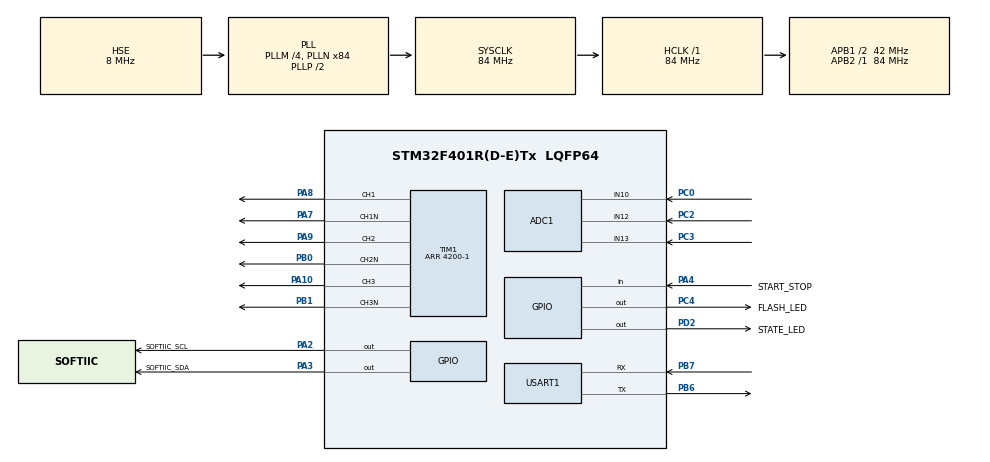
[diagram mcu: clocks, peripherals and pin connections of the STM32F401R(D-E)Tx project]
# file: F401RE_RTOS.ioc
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ADC1.Channel-0\#ChannelRegularConversion=ADC_CHANNEL_10
ADC1.Channel-1\#ChannelRegularConversion=ADC_CHANNEL_12
ADC1.Channel-2\#ChannelRegularConversion=ADC_CHANNEL_13
ADC1.DataAlign=ADC_DATAALIGN_RIGHT
ADC1.ExternalTrigConv=ADC_EXTERNALTRIGCONV_T1_CC3
ADC1.NbrOfConversion=3
ADC1.NbrOfConversionFlag=1
ADC1.Rank-0\#ChannelRegularConversion=1
ADC1.Rank-1\#ChannelRegularConversion=2
ADC1.Rank-2\#ChannelRegularConversion=3
ADC1.SamplingTime-0\#ChannelRegularConversion=ADC_SAMPLETIME_56CYCLES
ADC1.SamplingTime-1\#ChannelRegularConversion=ADC_SAMPLETIME_56CYCLES
ADC1.SamplingTime-2\#ChannelRegularConversion=ADC_SAMPLETIME_56CYCLES
ADC1.master=1
FREERTOS.Tasks01=defaultTask,-2,128,StartDefaultTask,Default,NULL,Static,defaultTaskBuffer,defaultTaskControlBlock;heartTask,0,128,HeartTaskEntry,Default,NULL,Static,heartTaskBuffer,heartTaskControlBlock;focTask,2,512,focTaskEntry,Default,NULL,Static,focTaskBuffer,focTaskControlBlock;buttonTask,0,128,buttonTaskEntry,Default,NULL,Static,buttonTaskBuffer,buttonTaskControlBlock
Mcu.Family=STM32F4
Mcu.Name=STM32F401R(D-E)Tx
Mcu.Package=LQFP64
NVIC.PriorityGroup=NVIC_PRIORITYGROUP_4
NVIC.TIM1_UP_TIM10_IRQn=true\:5\:0\:false\:false\:true\:false\:false\:true\:true
NVIC.TimeBase=TIM1_UP_TIM10_IRQn
NVIC.TimeBaseIP=TIM10
PA10.Signal=S_TIM1_CH3
PA13.Mode=Serial_Wire
PA13.Signal=SYS_JTMS-SWDIO
PA14.Mode=Serial_Wire
PA14.Signal=SYS_JTCK-SWCLK
PA2.GPIO_Label=SOFTIIC_SCL
PA2.GPIO_PuPd=GPIO_PULLUP
PA2.GPIO_Speed=GPIO_SPEED_FREQ_LOW
PA2.Signal=GPIO_Output
PA3.GPIO_Label=SOFTIIC_SDA
PA3.GPIO_PuPd=GPIO_PULLUP
PA3.GPIO_Speed=GPIO_SPEED_FREQ_LOW
PA3.Signal=GPIO_Output
PA4.GPIO_Label=START_STOP
PA4.GPIO_PuPd=GPIO_PULLUP
PA4.Signal=GPIO_Input
PA7.Mode=PWM Generation1 CH1 CH1N
PA7.Signal=TIM1_CH1N
PA8.Signal=S_TIM1_CH1
PA9.Signal=S_TIM1_CH2
PB0.Mode=PWM Generation2 CH2 CH2N
PB0.Signal=TIM1_CH2N
PB1.Mode=PWM Generation3 CH3 CH3N
PB1.Signal=TIM1_CH3N
PB6.Mode=Asynchronous
PB6.Signal=USART1_TX
PB7.Mode=Asynchronous
PB7.Signal=USART1_RX
PC0.Signal=ADCx_IN10
PC2.Signal=ADCx_IN12
PC3.Signal=ADCx_IN13
PC4.GPIO_Label=FLASH_LED
PC4.Signal=GPIO_Output
PD2.GPIO_Label=STATE_LED
PD2.Signal=GPIO_Output
PH0\ -\ OSC_IN.Mode=HSE-External-Oscillator
PH0\ -\ OSC_IN.Signal=RCC_OSC_IN
PH1\ -\ OSC_OUT.Mode=HSE-External-Oscillator
PH1\ -\ OSC_OUT.Signal=RCC_OSC_OUT
ProjectManager.HeapSize=0x200
ProjectManager.StackSize=0x400
ProjectManager.TargetToolchain=MDK-ARM V5.32
RCC.48MHZClocksFreq_Value=42000000
RCC.AHBFreq_Value=84000000
RCC.APB1CLKDivider=RCC_HCLK_DIV2
RCC.APB1Freq_Value=42000000
RCC.APB1TimFreq_Value=84000000
RCC.APB2Freq_Value=84000000
RCC.APB2TimFreq_Value=84000000
RCC.CortexFreq_Value=84000000
RCC.EnbaleCSS=true
RCC.HCLKFreq_Value=84000000
RCC.HSE_VALUE=8000000
RCC.HSI_VALUE=16000000
RCC.LSE_VALUE=32768
RCC.PLLM=4
RCC.PLLN=84
RCC.PLLSourceVirtual=RCC_PLLSOURCE_HSE
RCC.SYSCLKFreq_VALUE=84000000
RCC.SYSCLKSource=RCC_SYSCLKSOURCE_PLLCLK
RCC.VCOOutputFreq_Value=168000000
SH.ADCx_IN10.0=ADC1_IN10,IN10
SH.ADCx_IN12.0=ADC1_IN12,IN12
SH.ADCx_IN13.0=ADC1_IN13,IN13
SH.S_TIM1_CH1.0=TIM1_CH1,PWM Generation1 CH1 CH1N
SH.S_TIM1_CH2.0=TIM1_CH2,PWM Generation2 CH2 CH2N
SH.S_TIM1_CH3.0=TIM1_CH3,PWM Generation3 CH3 CH3N
TIM1.AutoReloadPreload=TIM_AUTORELOAD_PRELOAD_ENABLE
TIM1.Channel-PWM\ Generation1\ CH1\ CH1N=TIM_CHANNEL_1
TIM1.Channel-PWM\ Generation2\ CH2\ CH2N=TIM_CHANNEL_2
TIM1.Channel-PWM\ Generation3\ CH3\ CH3N=TIM_CHANNEL_3
TIM1.Channel-PWM\ Generation4\ No\ Output=TIM_CHANNEL_4
TIM1.ClockDivision=TIM_CLOCKDIVISION_DIV2
TIM1.CounterMode=TIM_COUNTERMODE_CENTERALIGNED1
TIM1.DeadTime=100
TIM1.LockLevel=TIM_LOCKLEVEL_1
TIM1.OCMode_PWM-PWM\ Generation4\ No\ Output=TIM_OCMODE_PWM2
TIM1.OffStateIDLEMode=TIM_OSSI_ENABLE
TIM1.OffStateRunMode=TIM_OSSR_ENABLE
TIM1.Period=4200-1
TIM1.RepetitionCounter=1
TIM1.TIM_MasterOutputTrigger=TIM_TRGO_RESET
USART1.VirtualMode=VM_ASYNC
VP_FREERTOS_VS_CMSIS_V1.Mode=CMSIS_V1
VP_SYS_VS_tim10.Mode=TIM10
VP_TIM1_VS_ClockSourceINT.Mode=Internal
VP_TIM1_VS_no_output4.Mode=PWM Generation4 No Output
board=custom

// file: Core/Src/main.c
/* USER CODE BEGIN Header */
/**
 ******************************************************************************
 * @file           : main.c
 * @brief          : Main program body
 ******************************************************************************
 * @attention
 *
 * Copyright (c) 2023 STMicroelectronics.
 * All rights reserved.
 *
 * This software is licensed under terms that can be found in the LICENSE file
 * in the root directory of this software component.
 * If no LICENSE file comes with this software, it is provided AS-IS.
 *
 ******************************************************************************
 */
/* USER CODE END Header */
#include "main.h"
#include "cmsis_os.h"
#include "adc.h"
#include "tim.h"
#include "usart.h"
#include "gpio.h"

/* USER CODE BEGIN Includes */
#include "stdio.h"
#include "variable.h"
#include "hal.h"
/* USER CODE END Includes */

void SystemClock_Config(void);
void MX_FREERTOS_Init(void);

/* USER CODE BEGIN 0 */
int fputc(int c, FILE *stream)
{
  HAL_UART_Transmit(&huart1, (unsigned char *)&c, 1, 1000);
  return 1;
}
/* USER CODE END 0 */

int main(void)
{

  /* MCU Configuration--------------------------------------------------------*/

  /* Reset of all peripherals, Initializes the Flash interface and the Systick. */
  HAL_Init();

  /* Configure the system clock */
  SystemClock_Config();

  /* Initialize all configured peripherals */
  MX_GPIO_Init();
  MX_USART1_UART_Init();
  MX_TIM1_Init();
  MX_ADC1_Init();
  /* USER CODE BEGIN 2 */
  HalInit();
  VariableInit();
  /* USER CODE END 2 */

  /* Call init function for freertos objects (in freertos.c) */
  MX_FREERTOS_Init();

  /* Start scheduler */
  osKernelStart();

  /* We should never get here as control is now taken by the scheduler */
  /* Infinite loop */
  while (1)
  {

    /* USER CODE BEGIN 3 */
    printf("Kernel Panic\n");
    HAL_Delay(1000);
  }
  /* USER CODE END 3 */
}

void SystemClock_Config(void)
{
  RCC_OscInitTypeDef RCC_OscInitStruct = {0};
  RCC_ClkInitTypeDef RCC_ClkInitStruct = {0};

  /** Configure the main internal regulator output voltage
  */
  __HAL_RCC_PWR_CLK_ENABLE();
  __HAL_PWR_VOLTAGESCALING_CONFIG(PWR_REGULATOR_VOLTAGE_SCALE2);

  /** Initializes the RCC Oscillators according to the specified parameters
  * in the RCC_OscInitTypeDef structure.
  */
  RCC_OscInitStruct.OscillatorType = RCC_OSCILLATORTYPE_HSE;
  RCC_OscInitStruct.HSEState = RCC_HSE_ON;
  RCC_OscInitStruct.PLL.PLLState = RCC_PLL_ON;
  RCC_OscInitStruct.PLL.PLLSource = RCC_PLLSOURCE_HSE;
  RCC_OscInitStruct.PLL.PLLM = 4;
  RCC_OscInitStruct.PLL.PLLN = 84;
  RCC_OscInitStruct.PLL.PLLP = RCC_PLLP_DIV2;
  RCC_OscInitStruct.PLL.PLLQ = 4;
  if (HAL_RCC_OscConfig(&RCC_OscInitStruct) != HAL_OK)
  {
    Error_Handler();
  }

  /** Initializes the CPU, AHB and APB buses clocks
  */
  RCC_ClkInitStruct.ClockType = RCC_CLOCKTYPE_HCLK|RCC_CLOCKTYPE_SYSCLK
                              |RCC_CLOCKTYPE_PCLK1|RCC_CLOCKTYPE_PCLK2;
  RCC_ClkInitStruct.SYSCLKSource = RCC_SYSCLKSOURCE_PLLCLK;
  RCC_ClkInitStruct.AHBCLKDivider = RCC_SYSCLK_DIV1;
  RCC_ClkInitStruct.APB1CLKDivider = RCC_HCLK_DIV2;
  RCC_ClkInitStruct.APB2CLKDivider = RCC_HCLK_DIV1;

  if (HAL_RCC_ClockConfig(&RCC_ClkInitStruct, FLASH_LATENCY_2) != HAL_OK)
  {
    Error_Handler();
  }

  /** Enables the Clock Security System
  */
  HAL_RCC_EnableCSS();
}

void HAL_TIM_PeriodElapsedCallback(TIM_HandleTypeDef *htim)
{
  if (htim->Instance == TIM10) {
    HAL_IncTick();
  }
}

void Error_Handler(void)
{
  __disable_irq();
  while (1)
  {
  }
}

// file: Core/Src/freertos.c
/* USER CODE BEGIN Header */
/**
 ******************************************************************************
 * File Name          : freertos.c
 * Description        : Code for freertos applications
 ******************************************************************************
 * @attention
 *
 * Copyright (c) 2023 STMicroelectronics.
 * All rights reserved.
 *
 * This software is licensed under terms that can be found in the LICENSE file
 * in the root directory of this software component.
 * If no LICENSE file comes with this software, it is provided AS-IS.
 *
 ******************************************************************************
 */
/* USER CODE END Header */

#include "FreeRTOS.h"
#include "task.h"
#include "main.h"
#include "cmsis_os.h"

/* USER CODE BEGIN Includes */
#include "stdio.h"
#include "foc.h"
#include "as5600.h"
#include "pid.h"
#include "multi_button.h"
#include "variable.h"
/* USER CODE END Includes */

/* USER CODE BEGIN PTD */
int temp = 0;
/* USER CODE END PTD */

osThreadId defaultTaskHandle;
uint32_t defaultTaskBuffer[128];
osStaticThreadDef_t defaultTaskControlBlock;
osThreadId heartTaskHandle;
uint32_t heartTaskBuffer[128];
osStaticThreadDef_t heartTaskControlBlock;
osThreadId focTaskHandle;
uint32_t focTaskBuffer[512];
osStaticThreadDef_t focTaskControlBlock;
osThreadId buttonTaskHandle;
uint32_t buttonTaskBuffer[128];
osStaticThreadDef_t buttonTaskControlBlock;

void StartDefaultTask(void const *argument);
void HeartTaskEntry(void const *argument);
void focTaskEntry(void const *argument);
void buttonTaskEntry(void const *argument);

void MX_FREERTOS_Init(void); /* (MISRA C 2004 rule 8.1) */

/* GetIdleTaskMemory prototype (linked to static allocation support) */
void vApplicationGetIdleTaskMemory(StaticTask_t **ppxIdleTaskTCBBuffer, StackType_t **ppxIdleTaskStackBuffer, uint32_t *pulIdleTaskStackSize);

/* USER CODE BEGIN GET_IDLE_TASK_MEMORY */
static StaticTask_t xIdleTaskTCBBuffer;
static StackType_t xIdleStack[configMINIMAL_STACK_SIZE];

void vApplicationGetIdleTaskMemory(StaticTask_t **ppxIdleTaskTCBBuffer, StackType_t **ppxIdleTaskStackBuffer, uint32_t *pulIdleTaskStackSize)
{
  *ppxIdleTaskTCBBuffer = &xIdleTaskTCBBuffer;
  *ppxIdleTaskStackBuffer = &xIdleStack[0];
  *pulIdleTaskStackSize = configMINIMAL_STACK_SIZE;
  /* place for user code */
}
/* USER CODE END GET_IDLE_TASK_MEMORY */

void MX_FREERTOS_Init(void)
{

  /* Create the thread(s) */
  /* definition and creation of defaultTask */
  osThreadStaticDef(defaultTask, StartDefaultTask, osPriorityLow, 0, 128, defaultTaskBuffer, &defaultTaskControlBlock);
  defaultTaskHandle = osThreadCreate(osThread(defaultTask), NULL);

  /* definition and creation of heartTask */
  osThreadStaticDef(heartTask, HeartTaskEntry, osPriorityNormal, 0, 128, heartTaskBuffer, &heartTaskControlBlock);
  heartTaskHandle = osThreadCreate(osThread(heartTask), NULL);

  /* definition and creation of focTask */
  osThreadStaticDef(focTask, focTaskEntry, osPriorityHigh, 0, 512, focTaskBuffer, &focTaskControlBlock);
  focTaskHandle = osThreadCreate(osThread(focTask), NULL);

  /* definition and creation of buttonTask */
  osThreadStaticDef(buttonTask, buttonTaskEntry, osPriorityNormal, 0, 128, buttonTaskBuffer, &buttonTaskControlBlock);
  buttonTaskHandle = osThreadCreate(osThread(buttonTask), NULL);

}

void StartDefaultTask(void const *argument)
{
  for (;;)
  {
    osDelay(1);
  }
}

void HeartTaskEntry(void const *argument)
{
  /* USER CODE BEGIN HeartTaskEntry */
  /* Infinite loop */
  for (;;)
  {
    HAL_GPIO_TogglePin(FLASH_LED_GPIO_Port, FLASH_LED_Pin);
    osDelay(1000);
  }
  /* USER CODE END HeartTaskEntry */
}

void focTaskEntry(void const *argument)
{
  /* USER CODE BEGIN focTaskEntry */
  /* Infinite loop */
  for (;;)
  {

    if (focParameter.isStart)
    {
	  focParameter.angleEl+=0.01f;
      AntiParkOperation(&focParameter.ualpha, &focParameter.ubeta, 0, 3, focParameter.angleEl);
      focParameter.sector = JudgeSector(focParameter.ualpha, focParameter.ubeta);
      SvpwmOperation(&focParameter.tcmp1, &focParameter.tcmp2, &focParameter.tcmp3, focParameter.ualpha, focParameter.ubeta, focParameter.sector, focParameter.udc, focParameter.tpwm);
//      focParameter.velocity = (focParameter.angleMc - focParameter.angleMcPrev) / 0.001f;
//      focParameter.velocityLpf = Lpf(focParameter.velocity);
//      focParameter.angleMcPrev = focParameter.angleMc;
    }

    osDelay(1);
  }
  /* USER CODE END focTaskEntry */
}

void buttonTaskEntry(void const *argument)
{
  /* USER CODE BEGIN buttonTaskEntry */
  /* Infinite loop */
  for (;;)
  {
    button_ticks();
    osDelay(50);
  }
  /* USER CODE END buttonTaskEntry */
}
